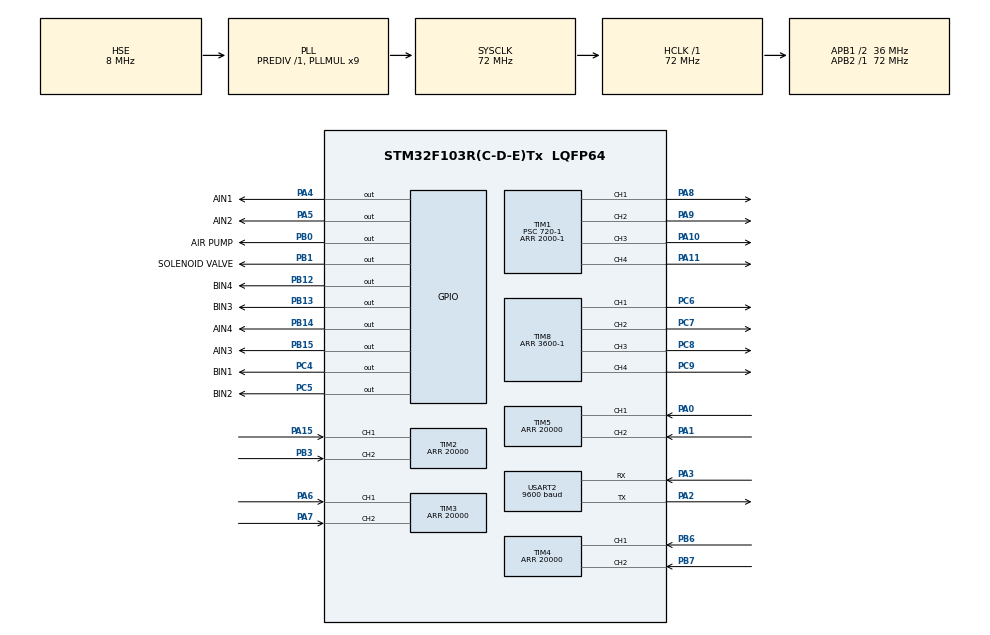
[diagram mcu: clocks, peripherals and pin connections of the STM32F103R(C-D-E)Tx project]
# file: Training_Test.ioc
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Dma.Request0=USART2_RX
Dma.USART2_RX.0.Direction=DMA_PERIPH_TO_MEMORY
Dma.USART2_RX.0.Instance=DMA1_Channel6
Dma.USART2_RX.0.MemDataAlignment=DMA_MDATAALIGN_BYTE
Dma.USART2_RX.0.MemInc=DMA_MINC_ENABLE
Dma.USART2_RX.0.Mode=DMA_NORMAL
Dma.USART2_RX.0.PeriphDataAlignment=DMA_PDATAALIGN_BYTE
Dma.USART2_RX.0.PeriphInc=DMA_PINC_DISABLE
Dma.USART2_RX.0.Priority=DMA_PRIORITY_LOW
FREERTOS.INCLUDE_vTaskDelayUntil=1
FREERTOS.Tasks01=defaultTask,0,128,StartDefaultTask,Default,NULL,Dynamic,NULL,NULL;Servo_Control,-1,128,Start_Servo_Control,As weak,NULL,Dynamic,NULL,NULL;Chassis_Control,1,128,Start_Chassis_Control,As weak,NULL,Dynamic,NULL,NULL
Mcu.Family=STM32F1
Mcu.Name=STM32F103R(C-D-E)Tx
Mcu.Package=LQFP64
NVIC.DMA1_Channel6_IRQn=true\:5\:0\:false\:false\:true\:true\:false\:true\:true
NVIC.PriorityGroup=NVIC_PRIORITYGROUP_4
NVIC.TIM2_IRQn=true\:5\:0\:false\:false\:true\:true\:true\:true\:true
NVIC.TIM3_IRQn=true\:5\:0\:false\:false\:true\:true\:true\:true\:true
NVIC.TIM4_IRQn=true\:5\:0\:false\:false\:true\:true\:true\:true\:true
NVIC.TIM5_IRQn=true\:5\:0\:false\:false\:true\:true\:true\:true\:true
NVIC.TIM6_IRQn=true\:6\:0\:true\:false\:true\:true\:true\:true\:true
NVIC.TIM7_IRQn=true\:15\:0\:false\:false\:true\:false\:false\:true\:true
NVIC.TimeBase=TIM7_IRQn
NVIC.TimeBaseIP=TIM7
NVIC.USART2_IRQn=true\:5\:0\:false\:false\:true\:true\:true\:true\:true
PA0-WKUP.Signal=S_TIM5_CH1
PA1.Signal=S_TIM5_CH2
PA10.Signal=S_TIM1_CH3
PA11.Signal=S_TIM1_CH4
PA13.Mode=Serial_Wire
PA13.Signal=SYS_JTMS-SWDIO
PA14.Mode=Serial_Wire
PA14.Signal=SYS_JTCK-SWCLK
PA15.Signal=S_TIM2_CH1_ETR
PA2.Mode=Asynchronous
PA2.Signal=USART2_TX
PA3.Mode=Asynchronous
PA3.Signal=USART2_RX
PA4.GPIO_Label=AIN1
PA4.Signal=GPIO_Output
PA5.GPIO_Label=AIN2
PA5.Signal=GPIO_Output
PA6.Signal=S_TIM3_CH1
PA7.Signal=S_TIM3_CH2
PA8.Signal=S_TIM1_CH1
PA9.Signal=S_TIM1_CH2
PB0.GPIO_Label=AIR PUMP
PB0.Signal=GPIO_Output
PB1.GPIO_Label=SOLENOID VALVE
PB1.Signal=GPIO_Output
PB12.GPIO_Label=BIN4
PB12.Signal=GPIO_Output
PB13.GPIO_Label=BIN3
PB13.Signal=GPIO_Output
PB14.GPIO_Label=AIN4
PB14.Signal=GPIO_Output
PB15.GPIO_Label=AIN3
PB15.Signal=GPIO_Output
PB3.Signal=S_TIM2_CH2
PB6.Signal=S_TIM4_CH1
PB7.Signal=S_TIM4_CH2
PC4.GPIO_Label=BIN1
PC4.Signal=GPIO_Output
PC5.GPIO_Label=BIN2
PC5.Signal=GPIO_Output
PC6.Signal=S_TIM8_CH1
PC7.Signal=S_TIM8_CH2
PC8.Signal=S_TIM8_CH3
PC9.Signal=S_TIM8_CH4
PD0-OSC_IN.Mode=HSE-External-Oscillator
PD0-OSC_IN.Signal=RCC_OSC_IN
PD1-OSC_OUT.Mode=HSE-External-Oscillator
PD1-OSC_OUT.Signal=RCC_OSC_OUT
ProjectManager.HeapSize=0x200
ProjectManager.StackSize=0x400
ProjectManager.TargetToolchain=MDK-ARM V5.32
RCC.AHBFreq_Value=72000000
RCC.APB1CLKDivider=RCC_HCLK_DIV2
RCC.APB1Freq_Value=36000000
RCC.APB1TimFreq_Value=72000000
RCC.APB2Freq_Value=72000000
RCC.APB2TimFreq_Value=72000000
RCC.HCLKFreq_Value=72000000
RCC.PLLMUL=RCC_PLL_MUL9
RCC.PLLSourceVirtual=RCC_PLLSOURCE_HSE
RCC.SYSCLKFreq_VALUE=72000000
RCC.SYSCLKSource=RCC_SYSCLKSOURCE_PLLCLK
RCC.USBFreq_Value=72000000
SH.S_TIM1_CH1.0=TIM1_CH1,PWM Generation1 CH1
SH.S_TIM1_CH2.0=TIM1_CH2,PWM Generation2 CH2
SH.S_TIM1_CH3.0=TIM1_CH3,PWM Generation3 CH3
SH.S_TIM1_CH4.0=TIM1_CH4,PWM Generation4 CH4
SH.S_TIM2_CH1_ETR.0=TIM2_CH1,Encoder_Interface
SH.S_TIM2_CH2.0=TIM2_CH2,Encoder_Interface
SH.S_TIM3_CH1.0=TIM3_CH1,Encoder_Interface
SH.S_TIM3_CH2.0=TIM3_CH2,Encoder_Interface
SH.S_TIM4_CH1.0=TIM4_CH1,Encoder_Interface
SH.S_TIM4_CH2.0=TIM4_CH2,Encoder_Interface
SH.S_TIM5_CH1.0=TIM5_CH1,Encoder_Interface
SH.S_TIM5_CH2.0=TIM5_CH2,Encoder_Interface
SH.S_TIM8_CH1.0=TIM8_CH1,PWM Generation1 CH1
SH.S_TIM8_CH2.0=TIM8_CH2,PWM Generation2 CH2
SH.S_TIM8_CH3.0=TIM8_CH3,PWM Generation3 CH3
SH.S_TIM8_CH4.0=TIM8_CH4,PWM Generation4 CH4
TIM1.Channel-PWM\ Generation1\ CH1=TIM_CHANNEL_1
TIM1.Channel-PWM\ Generation2\ CH2=TIM_CHANNEL_2
TIM1.Channel-PWM\ Generation3\ CH3=TIM_CHANNEL_3
TIM1.Channel-PWM\ Generation4\ CH4=TIM_CHANNEL_4
TIM1.Period=2000-1
TIM1.Prescaler=720-1
TIM1.Pulse-PWM\ Generation2\ CH2=50
TIM2.EncoderMode=TIM_ENCODERMODE_TI12
TIM2.Period=20000
TIM3.EncoderMode=TIM_ENCODERMODE_TI12
TIM3.Period=20000
TIM4.EncoderMode=TIM_ENCODERMODE_TI12
TIM4.Period=20000
TIM5.EncoderMode=TIM_ENCODERMODE_TI12
TIM5.Period=20000
TIM6.Period=10000-1
TIM6.Prescaler=720-1
TIM8.Channel-PWM\ Generation1\ CH1=TIM_CHANNEL_1
TIM8.Channel-PWM\ Generation2\ CH2=TIM_CHANNEL_2
TIM8.Channel-PWM\ Generation3\ CH3=TIM_CHANNEL_3
TIM8.Channel-PWM\ Generation4\ CH4=TIM_CHANNEL_4
TIM8.Period=3600-1
USART2.BaudRate=9600
USART2.VirtualMode=VM_ASYNC
VP_FREERTOS_VS_CMSIS_V1.Mode=CMSIS_V1
VP_SYS_VS_tim7.Mode=TIM7
VP_TIM1_VS_ClockSourceINT.Mode=Internal
VP_TIM6_VS_ClockSourceINT.Mode=Enable_Timer
VP_TIM8_VS_ClockSourceINT.Mode=Internal
board=custom

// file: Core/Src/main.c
/* USER CODE BEGIN Header */
/**
  ******************************************************************************
  * @file           : main.c
  * @brief          : Main program body
  ******************************************************************************
  * @attention
  *
  * Copyright (c) 2025 STMicroelectronics.
  * All rights reserved.
  *
  * This software is licensed under terms that can be found in the LICENSE file
  * in the root directory of this software component.
  * If no LICENSE file comes with this software, it is provided AS-IS.
  *
  ******************************************************************************
  */
/* USER CODE END Header */
#include "main.h"
#include "cmsis_os.h"
#include "dma.h"
#include "tim.h"
#include "usart.h"
#include "gpio.h"

/* USER CODE BEGIN Includes */
#include "motor.h"
#include "pid.h"
#include "string.h"
#include "ble_remote.h"
#include "stdlib.h"
#include "control_cmd.h"
/* USER CODE END Includes */

/* USER CODE BEGIN PTD */
#define RX_BUF_LEN 128
#define BLE_FRAME_LEN 11

/* 全局控制数据，两个任务都直接读取 */
volatile control_cmd_t g_cmd;
volatile uint8_t vacuum_on = 0; // 0=关闭；1=开启

/* 蓝牙解包的变量 */
static uint8_t rx_buf[RX_BUF_LEN];

/* USER CODE END PTD */

void SystemClock_Config(void);
void MX_FREERTOS_Init(void);
/* USER CODE BEGIN PFP */
static void ProcessBleData(uint8_t *buf, uint16_t size)
{
  if (size < BLE_REMOTE_LENGTH)
  {
    // 处理单个字符命令
    if (size == 1 && buf[0] >= '1' && buf[0] <= '9' && g_cmd.switch_state[0])
    {
      // 设置舵机角度到预设位置（每个舵机不同角度）
      switch (buf[0])
      {
      case '1': // 预设1
        g_cmd.servo_angle[0] = 55.512f;
        g_cmd.servo_angle[1] = 51.289f;
        g_cmd.servo_angle[2] = 76.723f;
        g_cmd.servo_angle[3] = 101.663f;
        break;
      case '2': // 预设2
        g_cmd.servo_angle[0] = 29.907f;
        g_cmd.servo_angle[1] = 67.807f;
        g_cmd.servo_angle[2] = 88.690f;
        g_cmd.servo_angle[3] = 102.047f;
        break;
      case '3': // 预设3
        g_cmd.servo_angle[0] = 2.028f;
        g_cmd.servo_angle[1] = 71.326f;
        g_cmd.servo_angle[2] = 81.532f;
        g_cmd.servo_angle[3] = 99.407f;
        break;
      case '4': // 预设4
        g_cmd.servo_angle[0] = 123.201f;
        g_cmd.servo_angle[1] = 97.498f;
        g_cmd.servo_angle[2] = 76.150f;
        g_cmd.servo_angle[3] = 54.548f;
        break;
      case '5': // 预设5
        g_cmd.servo_angle[0] = 119.937f;
        g_cmd.servo_angle[1] = 113.380f;
        g_cmd.servo_angle[2] = 88.999f;
        g_cmd.servo_angle[3] = 34.496f;
        break;
      }
    }
    return;
  }

  // 蓝牙帧处理
  for (uint16_t i = 0; i + BLE_REMOTE_LENGTH <= size; i++)
  {
    // 使用头文件中定义的帧头尾
    if (buf[i] == BLE_REMOTE_HEAD && buf[i + BLE_REMOTE_LENGTH - 1] == BLE_REMOTE_TAIL)
    {
      if (uart_to_remote(&buf[i]) == REMOTE_OK)
      {
        // 只更新原始数据，不处理业务逻辑
        control_cmd_t cmd;

        // 更新开关状态
        for (int j = 0; j < 4; j++)
        {
          cmd.switch_state[j] = g_remote.Switch[j];
        }

        // 更新按钮状态
        for (int j = 0; j < 4; j++)
        {
          cmd.button_state[j] = g_remote.Button[j];
        }

        // 更新摇杆数据
        cmd.vx = (int16_t)g_remote.rocker[0].y_position;
        cmd.vy = (int16_t)g_remote.rocker[0].x_position;
        cmd.vw = (int16_t)g_remote.rocker[1].x_position;

        // 模式直接使用Switch0
        cmd.mode = g_remote.Switch[0];

        // 保持原有的舵机角度（业务逻辑在Servo_control.c中处理）
        for (int j = 0; j < 4; j++)
        {
          cmd.servo_angle[j] = g_cmd.servo_angle[j];
        }

        // 选中的舵机（业务逻辑在Servo_control.c中处理）
        cmd.selected_servo = g_cmd.selected_servo;

        // 吸盘状态（业务逻辑在Servo_control.c中处理）
        cmd.suction_cup = g_cmd.suction_cup;

        // 一次性更新全局控制命令
        g_cmd = cmd;
      }
    }
  }
}
/* USER CODE END PFP */

/* USER CODE BEGIN 0 */
/* DMA空闲中断回调：接收蓝牙*/
void HAL_UARTEx_RxEventCallback(UART_HandleTypeDef *huart, uint16_t Size)
{
  if (huart == &huart2)
  {
    ProcessBleData(rx_buf, Size); // 处理数据
    HAL_UARTEx_ReceiveToIdle_DMA(&huart2, rx_buf, RX_BUF_LEN);
  }
}
/* USER CODE END 0 */

int main(void)
{

  /* MCU Configuration--------------------------------------------------------*/

  /* Reset of all peripherals, Initializes the Flash interface and the Systick. */
  HAL_Init();

  /* Configure the system clock */
  SystemClock_Config();

  /* Initialize all configured peripherals */
  MX_GPIO_Init();
  MX_DMA_Init();
  MX_TIM1_Init();
  MX_TIM2_Init();
  MX_TIM3_Init();
  MX_TIM4_Init();
  MX_TIM5_Init();
  MX_TIM6_Init();
  MX_TIM8_Init();
  MX_USART2_UART_Init();
  /* USER CODE BEGIN 2 */
  HAL_TIM_PWM_Start(&htim1, TIM_CHANNEL_1);
  HAL_TIM_PWM_Start(&htim1, TIM_CHANNEL_2);
  HAL_TIM_PWM_Start(&htim1, TIM_CHANNEL_3);
  HAL_TIM_PWM_Start(&htim1, TIM_CHANNEL_4);
  HAL_TIM_PWM_Start(&htim8, TIM_CHANNEL_1);
  HAL_TIM_PWM_Start(&htim8, TIM_CHANNEL_2);
  HAL_TIM_PWM_Start(&htim8, TIM_CHANNEL_3);
  HAL_TIM_PWM_Start(&htim8, TIM_CHANNEL_4);
  HAL_TIM_Encoder_Start(&htim2, TIM_CHANNEL_ALL);
  HAL_TIM_Encoder_Start(&htim3, TIM_CHANNEL_ALL);
  HAL_TIM_Encoder_Start(&htim4, TIM_CHANNEL_ALL);
  HAL_TIM_Encoder_Start(&htim5, TIM_CHANNEL_ALL);
  HAL_UARTEx_ReceiveToIdle_DMA(&huart2, rx_buf, RX_BUF_LEN); // 开启蓝牙DMA接收

  // ===== 电机对象初始化 =====
  Motor_Init(&motors[0], &htim2, &htim8, TIM_CHANNEL_1,
             GPIOA, GPIO_PIN_4,
             GPIOA, GPIO_PIN_5);

  Motor_Init(&motors[1], &htim3, &htim8, TIM_CHANNEL_2,
             GPIOC, GPIO_PIN_5,
             GPIOC, GPIO_PIN_4);

  Motor_Init(&motors[2], &htim4, &htim8, TIM_CHANNEL_3,
             GPIOB, GPIO_PIN_12,
             GPIOB, GPIO_PIN_13);

  Motor_Init(&motors[3], &htim5, &htim8, TIM_CHANNEL_4,
             GPIOB, GPIO_PIN_15,
             GPIOB, GPIO_PIN_14);

  // ===== PID 初始化，解决每个电机差异=====
  motors[0].PidInit(&motors[0],
                    POSITION,
                    3600 - 1,          // max_out
                    1800 - 1,          // max_iout
                    5.0f, 2.0f, 1.0f); // 5.0f, 2.0f, 1.0f

  motors[1].PidInit(&motors[1],
                    POSITION,
                    3600 - 1,          // max_out
                    1800 - 1,          // max_iout
                    5.0f, 2.0f, 1.0f); // 25.0f, 5.0f, 0.0f

  motors[2].PidInit(&motors[2],
                    POSITION,
                    3600 - 1,          // max_out
                    1800 - 1,          // max_iout
                    5.0f, 2.0f, 1.0f); // 25.0f, 5.0f, 0.0f

  motors[3].PidInit(&motors[3],
                    POSITION,
                    3600 - 1,          // max_out
                    1800 - 1,          // max_iout
                    5.0f, 2.0f, 1.0f); // 25.0f, 5.0f, 0.0f

  /* USER CODE END 2 */

  /* Call init function for freertos objects (in freertos.c) */
  MX_FREERTOS_Init();

  /* Start scheduler */
  osKernelStart();

  /* We should never get here as control is now taken by the scheduler */
  /* Infinite loop */
 while (1)
 {

 }
}

void SystemClock_Config(void)
{
  RCC_OscInitTypeDef RCC_OscInitStruct = {0};
  RCC_ClkInitTypeDef RCC_ClkInitStruct = {0};

  /** Initializes the RCC Oscillators according to the specified parameters
  * in the RCC_OscInitTypeDef structure.
  */
  RCC_OscInitStruct.OscillatorType = RCC_OSCILLATORTYPE_HSE;
  RCC_OscInitStruct.HSEState = RCC_HSE_ON;
  RCC_OscInitStruct.HSEPredivValue = RCC_HSE_PREDIV_DIV1;
  RCC_OscInitStruct.HSIState = RCC_HSI_ON;
  RCC_OscInitStruct.PLL.PLLState = RCC_PLL_ON;
  RCC_OscInitStruct.PLL.PLLSource = RCC_PLLSOURCE_HSE;
  RCC_OscInitStruct.PLL.PLLMUL = RCC_PLL_MUL9;
  if (HAL_RCC_OscConfig(&RCC_OscInitStruct) != HAL_OK)
  {
    Error_Handler();
  }

  /** Initializes the CPU, AHB and APB buses clocks
  */
  RCC_ClkInitStruct.ClockType = RCC_CLOCKTYPE_HCLK|RCC_CLOCKTYPE_SYSCLK
                              |RCC_CLOCKTYPE_PCLK1|RCC_CLOCKTYPE_PCLK2;
  RCC_ClkInitStruct.SYSCLKSource = RCC_SYSCLKSOURCE_PLLCLK;
  RCC_ClkInitStruct.AHBCLKDivider = RCC_SYSCLK_DIV1;
  RCC_ClkInitStruct.APB1CLKDivider = RCC_HCLK_DIV2;
  RCC_ClkInitStruct.APB2CLKDivider = RCC_HCLK_DIV1;

  if (HAL_RCC_ClockConfig(&RCC_ClkInitStruct, FLASH_LATENCY_2) != HAL_OK)
  {
    Error_Handler();
  }
}

void HAL_TIM_PeriodElapsedCallback(TIM_HandleTypeDef *htim)
{
  if (htim->Instance == TIM7) {
    HAL_IncTick();
  }
}

void Error_Handler(void)
{
  __disable_irq();
  while (1)
  {
  }
}

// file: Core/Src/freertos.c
/* USER CODE BEGIN Header */
/**
  ******************************************************************************
  * File Name          : freertos.c
  * Description        : Code for freertos applications
  ******************************************************************************
  * @attention
  *
  * Copyright (c) 2025 STMicroelectronics.
  * All rights reserved.
  *
  * This software is licensed under terms that can be found in the LICENSE file
  * in the root directory of this software component.
  * If no LICENSE file comes with this software, it is provided AS-IS.
  *
  ******************************************************************************
  */
/* USER CODE END Header */

#include "FreeRTOS.h"
#include "task.h"
#include "main.h"
#include "cmsis_os.h"

osThreadId defaultTaskHandle;
osThreadId Servo_ControlHandle;
osThreadId Chassis_ControlHandle;

void StartDefaultTask(void const * argument);
void Start_Servo_Control(void const * argument);
void Start_Chassis_Control(void const * argument);

void MX_FREERTOS_Init(void); /* (MISRA C 2004 rule 8.1) */

/* GetIdleTaskMemory prototype (linked to static allocation support) */
void vApplicationGetIdleTaskMemory( StaticTask_t **ppxIdleTaskTCBBuffer, StackType_t **ppxIdleTaskStackBuffer, uint32_t *pulIdleTaskStackSize );

/* USER CODE BEGIN GET_IDLE_TASK_MEMORY */
static StaticTask_t xIdleTaskTCBBuffer;
static StackType_t xIdleStack[configMINIMAL_STACK_SIZE];

void vApplicationGetIdleTaskMemory( StaticTask_t **ppxIdleTaskTCBBuffer, StackType_t **ppxIdleTaskStackBuffer, uint32_t *pulIdleTaskStackSize )
{
  *ppxIdleTaskTCBBuffer = &xIdleTaskTCBBuffer;
  *ppxIdleTaskStackBuffer = &xIdleStack[0];
  *pulIdleTaskStackSize = configMINIMAL_STACK_SIZE;
  /* place for user code */
}
/* USER CODE END GET_IDLE_TASK_MEMORY */

void MX_FREERTOS_Init(void) {

  /* Create the thread(s) */
  /* definition and creation of defaultTask */
  osThreadDef(defaultTask, StartDefaultTask, osPriorityNormal, 0, 128);
  defaultTaskHandle = osThreadCreate(osThread(defaultTask), NULL);

  /* definition and creation of Servo_Control */
  osThreadDef(Servo_Control, Start_Servo_Control, osPriorityBelowNormal, 0, 128);
  Servo_ControlHandle = osThreadCreate(osThread(Servo_Control), NULL);

  /* definition and creation of Chassis_Control */
  osThreadDef(Chassis_Control, Start_Chassis_Control, osPriorityAboveNormal, 0, 128);
  Chassis_ControlHandle = osThreadCreate(osThread(Chassis_Control), NULL);

}

void StartDefaultTask(void const * argument)
{
  for(;;)
  {
    osDelay(1);
  }
}

__weak void Start_Servo_Control(void const * argument)
{
  for(;;)
  {
    osDelay(1);
  }
}

__weak void Start_Chassis_Control(void const * argument)
{
  for(;;)
  {
    osDelay(1);
  }
}
